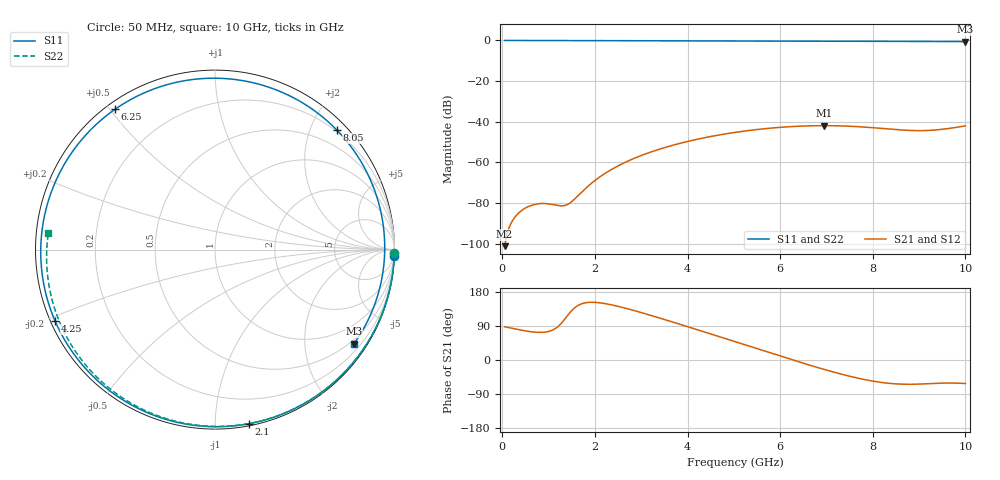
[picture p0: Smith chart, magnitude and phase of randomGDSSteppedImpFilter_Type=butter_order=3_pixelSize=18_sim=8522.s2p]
! freq	dB(S11)	phase(S11)	dB(S12)	phase(S12)
!  dB(S21)	phase(S21)	dB(S22)	phase(S22)
!S-par simulation data
#  GHz  S  DB  R 50
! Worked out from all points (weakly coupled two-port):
!   200 points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, 50 MHz to 10 GHz, reference 50 ohm
!   highest |S21| = -41.89 dB at 6.95 GHz (marker M1); lowest = -101.2 dB at 50 MHz (marker M2)
!   lowest |S11| = -0.6 dB at 10 GHz (marker M3), VSWR 29.79, Z = 19.4 - j161 ohm
!   |S11| at or under -10 dB: nowhere
!   |S22| runs from -0.6 to 0.0 dB; largest |S21 - S12| = 0
!   S11 on the Smith chart (normalised r, x): 50 MHz: 1, -58; 2.1 GHz: 0.01, -1.21; 4.25 GHz: 0.01, -0.21; 6.25 GHz: 0.03, +0.52; 8.05 GHz: 0.17, +2.43; 10 GHz: 0.39, -3.23
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0.05  -0.01 -2.0  -101.16 87.8  -101.16 87.8  -0.00 -1.1
0.7  -0.03 -26.9  -80.64 73.5  -80.64 73.5  -0.02 -14.6
1.45  -0.07 -55.2  -80.12 123.6  -80.12 123.6  -0.04 -29.9
1.75  -0.08 -66.3  -73.78 149.7  -73.78 149.7  -0.05 -35.9
2.1  -0.10 -79.0  -67.19 151.0  -67.19 151.0  -0.06 -42.9
2.75  -0.13 -102.4  -58.94 133.7  -58.94 133.7  -0.07 -55.6
3.4  -0.16 -125.5  -53.41 110.6  -53.41 110.6  -0.09 -68.0
3.85  -0.19 -141.5  -50.51 93.7  -50.51 93.7  -0.10 -76.4
4.25  -0.21 -155.9  -48.38 78.4  -48.38 78.4  -0.12 -83.7
4.65  -0.24 -170.7  -46.60 63.0  -46.60 63.0  -0.13 -90.9
5.05  -0.27 174.2  -45.13 47.4  -45.13 47.4  -0.15 -98.0
5.65  -0.31 150.5  -43.43 24.0  -43.43 24.0  -0.18 -108.5
6.25  -0.35 125.5  -42.35 0.9  -42.35 0.9  -0.22 -118.8
6.7  -0.38 105.8  -41.95 -15.9  -41.95 -15.9  -0.25 -126.6
6.95  -0.40 94.6  -41.89 -24.9  -41.89 -24.9  -0.27 -130.8
7.5  -0.42 69.5  -42.18 -42.8  -42.18 -42.8  -0.31 -140.3
8.05  -0.44 44.5  -42.99 -56.7  -42.99 -56.7  -0.37 -149.8
8.35  -0.45 31.2  -43.56 -61.5  -43.56 -61.5  -0.40 -155.1
8.7  -0.46 16.1  -44.15 -64.0  -44.15 -64.0  -0.44 -161.3
9.1  -0.49 -0.4  -44.33 -63.1  -44.33 -63.1  -0.48 -168.6
9.5  -0.52 -15.9  -43.69 -61.1  -43.69 -61.1  -0.54 -176.1
10  -0.58 -34.0  -41.98 -62.1  -41.98 -62.1  -0.60 174.2
